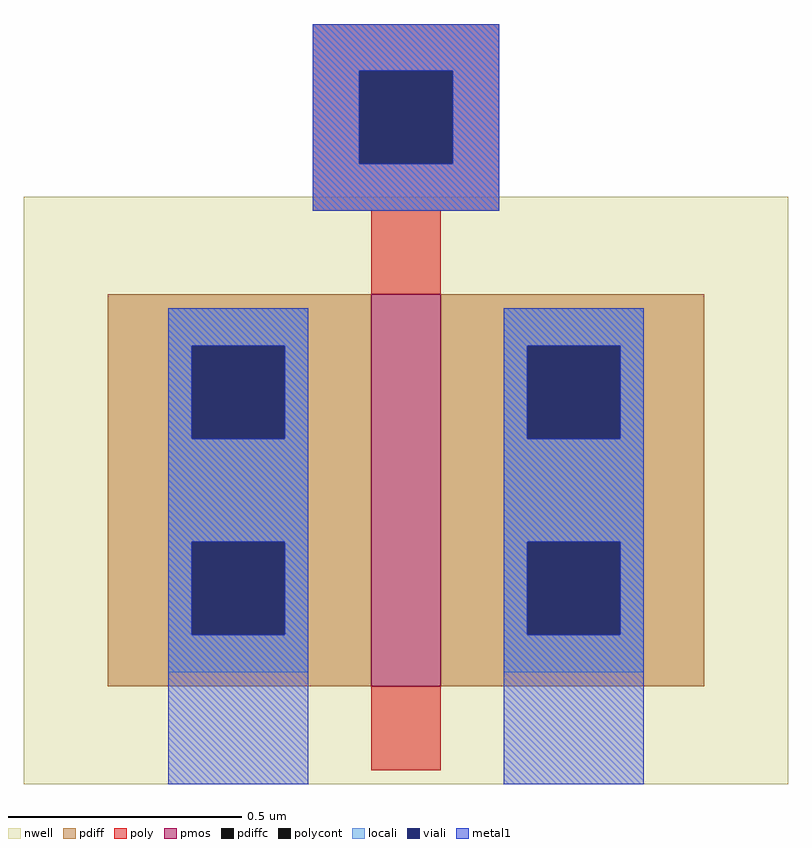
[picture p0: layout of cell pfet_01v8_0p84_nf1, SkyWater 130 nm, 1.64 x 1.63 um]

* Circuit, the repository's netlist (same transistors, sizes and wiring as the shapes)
* NGSPICE file created from pfet_01v8_0p84_nf1.ext - technology: sky130A

.subckt pfet_01v8_0p84_nf1
X0 a_143_0# a_88_204# a_0_0# w_n36_n42# sky130_fd_pr__pfet_01v8 ad=0.475 pd=2.81 as=0.475 ps=2.81 w=0.84 l=0.15
.ends

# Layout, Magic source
magic
tech sky130A
magscale 1 2
<< nwell >>
rect -36 -42 292 210
<< pmos >>
rect 113 0 143 168
<< pdiff >>
rect 0 146 113 168
rect 0 106 36 146
rect 76 106 113 146
rect 0 62 113 106
rect 0 22 36 62
rect 76 22 113 62
rect 0 0 113 22
rect 143 146 256 168
rect 143 106 180 146
rect 220 106 256 146
rect 143 62 256 106
rect 143 22 180 62
rect 220 22 256 62
rect 143 0 256 22
<< pdiffc >>
rect 36 106 76 146
rect 36 22 76 62
rect 180 106 220 146
rect 180 22 220 62
<< poly >>
rect 88 264 168 284
rect 88 224 108 264
rect 148 224 168 264
rect 88 204 168 224
rect 113 168 143 204
rect 113 -36 143 0
<< polycont >>
rect 108 224 148 264
<< locali >>
rect 88 264 168 284
rect 88 224 108 264
rect 148 224 168 264
rect 88 204 168 224
rect 26 146 86 162
rect 26 106 36 146
rect 76 106 86 146
rect 26 62 86 106
rect 26 22 36 62
rect 76 22 86 62
rect 26 6 86 22
rect 170 146 230 162
rect 170 106 180 146
rect 220 106 230 146
rect 170 62 230 106
rect 170 22 180 62
rect 220 22 230 62
rect 170 6 230 22
<< viali >>
rect 108 224 148 264
rect 36 106 76 146
rect 36 22 76 62
rect 180 106 220 146
rect 180 22 220 62
<< metal1 >>
rect 88 264 168 284
rect 88 224 108 264
rect 148 224 168 264
rect 88 204 168 224
rect 26 146 86 162
rect 26 106 36 146
rect 76 106 86 146
rect 26 62 86 106
rect 26 22 36 62
rect 76 22 86 62
rect 26 -42 86 22
rect 170 146 230 162
rect 170 106 180 146
rect 220 106 230 146
rect 170 62 230 106
rect 170 22 180 62
rect 220 22 230 62
rect 170 -42 230 22
<< end >>
